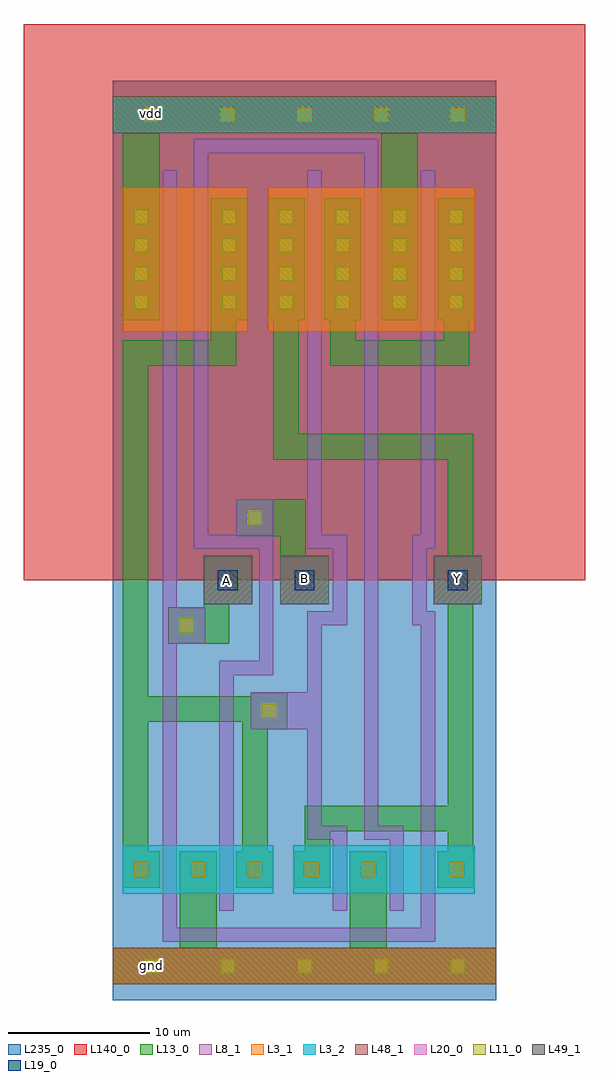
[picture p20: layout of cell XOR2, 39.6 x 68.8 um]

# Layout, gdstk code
import gdstk
lib = gdstk.Library(unit=1e-6, precision=1e-09)
def R(c, l, rs):  # rectangles x0, y0, x1, y1
    for r in rs: c.add(gdstk.rectangle(r[:2], r[2:], *l))
def A(c, l, x, y, w, h, nx, ny, dx, dy):  # array of equal rectangles
    R(c, l, [(x+i*dx, y+j*dy, x+i*dx+w, y+j*dy+h) for i in range(nx) for j in range(ny)])
def P(c, l, *ps):  # polygons
    for p in ps: c.add(gdstk.Polygon(p, *l))
L3_1 = (3, 1)
L3_2 = (3, 2)
L8_1 = (8, 1)
L11_0 = (11, 0)
L13_0 = (13, 0)
L19_0 = (19, 0)
L20_0 = (20, 0)
L48_1 = (48, 1)
L49_1 = (49, 1)
L140_0 = (140, 0)
L235_0 = (235, 0)

xor2 = lib.new_cell('XOR2')
R(xor2, L3_1, [(0,1.1,27,3.7), (0.7,47.1,9.5,57.3), (10.9,47.1,25.5,57.3)])
R(xor2, L3_2, [(0.7,7.5,11.3,10.9), (12.7,7.5,25.5,10.9), (0,61.1,27,63.7)])
P(xor2, L8_1, [(15.5,6.3),(15.5,11.3),(13.7,11.3),(13.7,19.1),(9.7,19.1),(9.7,21.7),(13.7,21.7),(13.7,27.4),(15.5,27.4),(15.5,31.8),(13.7,31.8),(13.7,58.5),(14.7,58.5),(14.7,32.8),(16.5,32.8),(16.5,26.4),(14.7,26.4),(14.7,12.3),(16.5,12.3),(16.5,6.3)],
  [(3.5,4.1),(3.5,58.5),(4.5,58.5),(4.5,27.7),(6.5,27.7),(6.5,25.1),(4.5,25.1),(4.5,5.1),(21.7,5.1),(21.7,26.4),(21.1,26.4),(21.1,32.8),(21.7,32.8),(21.7,58.5),(22.7,58.5),(22.7,31.8),(22.1,31.8),(22.1,27.4),(22.7,27.4),(22.7,4.1)],
  [(7.5,6.3),(7.5,23.9),(10.3,23.9),(10.3,31.8),(5.7,31.8),(5.7,60.7),(18.7,60.7),(18.7,12.3),(20.5,12.3),(20.5,6.3),(19.5,6.3),(19.5,11.3),(17.7,11.3),(17.7,59.7),(6.7,59.7),(6.7,32.8),(8.7,32.8),(8.7,35.3),(11.3,35.3),(11.3,22.9),(8.5,22.9),(8.5,6.3)])
A(xor2, L11_0, 2.2, 1.9, 1, 1, 5, 2, 5.4, 60)
A(xor2, L11_0, 1.5, 8.7, 1, 1, 5, 1, 4, 0)
A(xor2, L11_0, 1.5, 48.7, 1, 1, 1, 4, 0, 2)
A(xor2, L11_0, 7.7, 48.7, 1, 1, 5, 4, 4, 2)
R(xor2, L11_0, [(17.5,8.7,18.5,9.7), (23.7,8.7,24.7,9.7), (10.5,19.9,11.5,20.9), (4.7,25.9,5.7,26.9), (9.5,33.5,10.5,34.5)])
R(xor2, L13_0, [(0,1.1,27,3.7), (4.7,3.7,7.3,10.5), (16.7,3.7,19.3,10.5), (16.7,7.9,19.3,10.5), (0.7,47.9,3.3,61.1), (18.9,47.9,21.5,61.1), (0,61.1,27,63.7)])
P(xor2, L13_0, [(3.9,25.1),(3.9,27.7),(6.4,27.7),(6.4,31.3),(9.8,31.3),(9.8,27.9),(8.2,27.9),(8.2,25.1)],
  [(11.8,27.9),(11.8,32.7),(8.7,32.7),(8.7,35.3),(13.6,35.3),(13.6,31.3),(15.2,31.3),(15.2,27.9)],
  [(0.7,7.9),(0.7,46.5),(6.9,46.5),(6.9,56.5),(9.5,56.5),(9.5,47.9),(8.7,47.9),(8.7,44.7),(2.5,44.7),(2.5,21.4),(9.7,21.4),(9.7,21.7),(12.3,21.7),(12.3,19.1),(10.9,19.1),(10.9,10.5),(11.3,10.5),(11.3,7.9),(8.7,7.9),(8.7,10.5),(9.1,10.5),(9.1,19.6),(2.5,19.6),(2.5,10.5),(3.3,10.5),(3.3,7.9)],
  [(12.7,7.9),(12.7,10.5),(13.5,10.5),(13.5,13.7),(23.6,13.7),(23.6,27.9),(22.6,27.9),(22.6,31.3),(23.6,31.3),(23.6,38.1),(11.3,38.1),(11.3,47.9),(10.9,47.9),(10.9,56.5),(13.5,56.5),(13.5,47.9),(13.1,47.9),(13.1,39.9),(25.4,39.9),(25.4,31.3),(26,31.3),(26,27.9),(25.4,27.9),(25.4,10.5),(25.5,10.5),(25.5,7.9),(22.9,7.9),(22.9,10.5),(23.6,10.5),(23.6,11.9),(15.3,11.9),(15.3,7.9)],
  [(15.3,44.7),(15.3,47.9),(14.9,47.9),(14.9,56.5),(17.5,56.5),(17.5,47.9),(17.1,47.9),(17.1,46.5),(23.3,46.5),(23.3,47.9),(22.9,47.9),(22.9,56.5),(25.5,56.5),(25.5,47.9),(25.1,47.9),(25.1,44.7)])
R(xor2, L19_0, [(7.4,28.9,8.8,30.3), (7.4,28.9,8.8,30.3), (7.4,28.9,8.8,30.3), (12.8,28.9,14.2,30.3), (12.8,28.9,14.2,30.3), (12.8,28.9,14.2,30.3), (12.8,28.9,14.2,30.3), (23.6,28.9,25,30.3), (23.6,28.9,25,30.3), (23.6,28.9,25,30.3), (23.6,28.9,25,30.3)])
R(xor2, L20_0, [(6.4,27.9,9.8,31.3), (6.4,27.9,9.8,31.3), (6.4,27.9,9.8,31.3), (11.8,27.9,15.2,31.3), (11.8,27.9,15.2,31.3), (11.8,27.9,15.2,31.3), (11.8,27.9,15.2,31.3), (22.6,27.9,26,31.3), (22.6,27.9,26,31.3), (22.6,27.9,26,31.3), (22.6,27.9,26,31.3)])
R(xor2, L48_1, [(0,1.1,27,3.7), (0,61.1,27,63.7)])
R(xor2, L49_1, [(6.4,27.9,9.8,31.3), (11.8,27.9,15.2,31.3), (22.6,27.9,26,31.3)])
R(xor2, L140_0, [(-6.3,29.6,33.3,68.8)])
R(xor2, L235_0, [(0,0,27,64.8)])
xor2.add(gdstk.Label('A', (8,29.6), layer=49, texttype=0))
xor2.add(gdstk.Label('B', (13.5,29.7), layer=49, texttype=0))
xor2.add(gdstk.Label('Y', (24.3,29.7), layer=49, texttype=0))
xor2.add(gdstk.Label('gnd', (2.7,2.4), layer=48, texttype=0))
xor2.add(gdstk.Label('vdd', (2.7,62.5), layer=48, texttype=0))

lib.write_gds('XOR2.gds')
